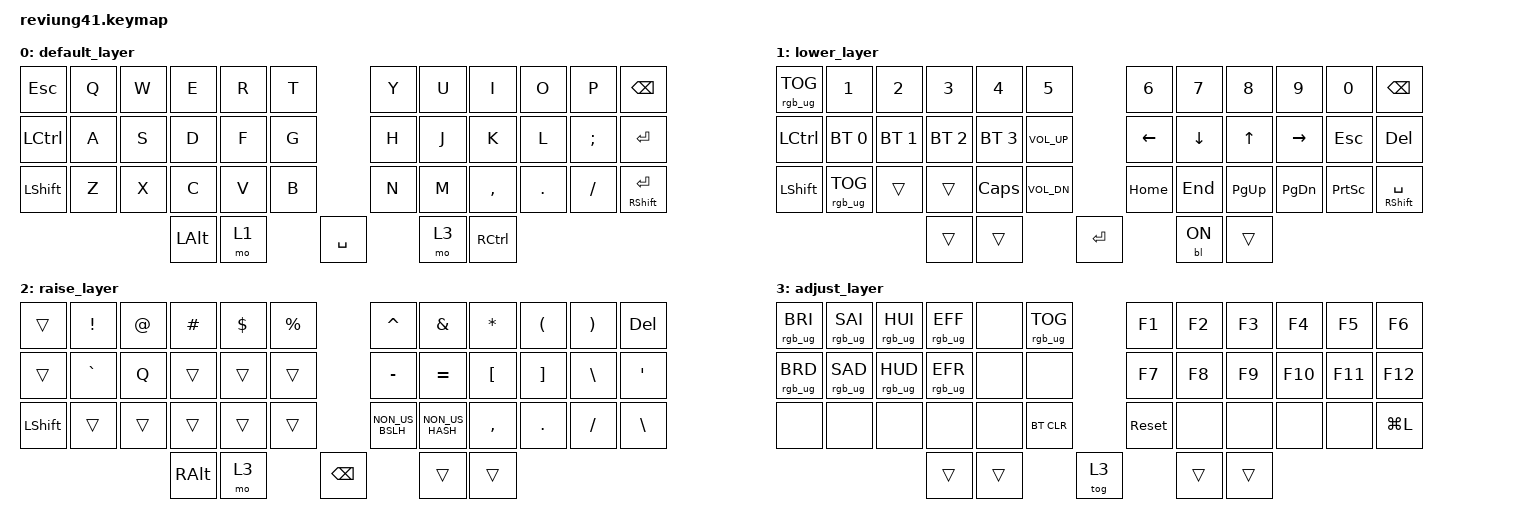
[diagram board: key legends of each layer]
/*
 * Copyright (c) 2020 The ZMK Contributors
 *
 * SPDX-License-Identifier: MIT
 */

#include <behaviors.dtsi>
#include <dt-bindings/zmk/backlight.h>
#include <dt-bindings/zmk/bt.h>
#include <dt-bindings/zmk/keys.h>
#include <dt-bindings/zmk/rgb.h>

/ {
    macros {
        pc: pc {
            compatible = "zmk,behavior-macro";
            #binding-cells = <0>;
            bindings = <&none &kp N1 &kp N2 &kp N3 &kp N4 &kp N5 &kp N4 &kp N3 &kp N2 &kp N1>;
            label = "PC";
        };

        key: key {
            compatible = "zmk,behavior-macro";
            #binding-cells = <0>;
            bindings = <&none &kp LS(N) &kp N0 &kp V &kp I &kp N3 &kp M &kp B &kp R &kp N3 &kp RIGHT_BRACKET &kp N2 &kp N9>;
            label = "KEY";
        };

        work: work {
            compatible = "zmk,behavior-macro";
            #binding-cells = <0>;
            bindings = <&none &kp LS(C) &kp D &kp PRCNT &kp F &kp N6 &kp N8 &kp N3 &kp J &kp LS(X) &kp K &kp N4 &kp LS(R) &kp A &kp LS(C) &kp A &kp U>;
            label = "WORK";
        };
    };

    keymap {
        compatible = "zmk,keymap";

        default_layer {
            // -------------------------------------------------------------------------------------
            // |  TAB |  Q  |  W  |  E  |  R  |  T  |   |  Y  |  U   |  I  |  O  |  P  |   BSPC    |
            // | CTRL |  A  |  S  |  D  |  F  |  G  |   |  H  |  J   |  K  |  L  |  ;  |    '      |
            // | SHFT |  Z  |  X  |  C  |  V  |  B  |   |  N  |  M   |  ,  |  .  |  /  | SHFT(RET) |
            //                         | ALT | LWR | SPC | RSE  | ALT |

            bindings = <
&kp ESC    &kp Q  &kp W  &kp E     &kp R  &kp T             &kp Y  &kp U  &kp I              &kp O    &kp P     &kp BSPC
&kp LCTRL  &kp A  &kp S  &kp D     &kp F  &kp G             &kp H  &kp J  &kp K              &kp L    &kp SEMI  &kp ENTER
&kp LSHFT  &kp Z  &kp X  &kp C     &kp V  &kp B             &kp N  &kp M  &kp COMMA          &kp DOT  &kp FSLH  &mt RSHFT RET
                         &kp LALT  &mo 1         &kp SPACE         &mo 3  &kp RIGHT_CONTROL
            >;
        };

        lower_layer {
            // ------------------------------------------------------------------------------------
            // |    |  !  |  @  |  #  |  $  |  %  |   |  ^  |  &  |  *  |  (  |  )  |      DEL    |
            // |    |  _  |  +  |  {  |  }  | "|" |   | LFT | DWN |  UP | RGT |  `  |       ~     |
            // |    | ESC | GUI | ALT | CAPS|  "  |   | HOME| END | PGUP| PGDN| PRSC| SHFT(SPACE) |
            //                       |     |     | RET | ADJ |     |

            bindings = <
&rgb_ug RGB_TOG   &kp NUMBER_1     &kp NUMBER_2  &kp NUMBER_3  &kp NUMBER_4  &kp N5                    &kp NUMBER_6  &kp N7     &kp N8     &kp N9     &kp N0      &kp BACKSPACE
&kp LEFT_CONTROL  &bt BT_SEL 0     &bt BT_SEL 1  &bt BT_SEL 2  &bt BT_SEL 3  &kp C_VOLUME_UP           &kp LEFT      &kp DOWN   &kp UP     &kp RIGHT  &kp ESCAPE  &kp DELETE
&kp LEFT_SHIFT    &rgb_ug RGB_TOG  &trans        &trans        &kp CLCK      &kp C_VOL_DN              &kp HOME      &kp END    &kp PG_UP  &kp PG_DN  &kp PSCRN   &mt RSHFT SPACE
                                                 &trans        &trans                         &kp RET                &bl BL_ON  &trans
            >;
        };

        raise_layer {
            // ----------------------------------------------------------------------------
            // |    |  1  |  2  |  3  |  4  |  5  |   |  6  |  7  |  8  |  9  |  0  | DEL |
            // |    |  -  |  =  |  [  |  ]  |  \  |   | F1  | F2  | F3  | F4  | F5  | F6  |
            // |    | ESC | GUI | ALT | CAPS|  "  |   | F7  | F8  | F9  | F10 | F11 | F12 |
            //                       |     | ADJ | BSPC |    |     |

            bindings = <
&trans          &kp EXCLAMATION  &kp AT  &kp HASH       &kp DOLLAR  &kp PERCENT            &kp CARET        &kp AMPERSAND    &kp ASTERISK  &kp LEFT_PARENTHESIS  &kp RIGHT_PARENTHESIS  &kp DEL
&trans          &kp GRAVE        &kp Q   &trans         &trans      &trans                 &kp MINUS        &kp EQUAL        &kp LBKT      &kp RBKT              &kp BSLH               &kp SINGLE_QUOTE
&kp LEFT_SHIFT  &trans           &trans  &trans         &trans      &trans                 &kp NON_US_BSLH  &kp NON_US_HASH  &kp COMMA     &kp DOT               &kp SLASH              &kp BACKSLASH
                                         &kp RIGHT_ALT  &mo 3                    &kp BSPC                   &trans           &trans
            >;
        };

        adjust_layer {
            // -----------------------------------------------------------------------------------------
            // | RGB BRI+ | RGB SAT+ | RGB HUE+ | RGB ANI+ |    | RGB TOG |   |  BT1  | BT2 | BT3 | BT4 | BT5 | BT CLR |
            // | RGB BRI- | RGB SAT- | RGB HUE- | RGB ANI- |    |         |   |       |     |     |     |     |        |
            // |          |          |          |          |    |         |   | RESET |     |     |     |     |        |
            //                                              |     |     |     |     |     |

            bindings = <
&rgb_ug RGB_BRI  &rgb_ug RGB_SAI  &rgb_ug RGB_HUI  &rgb_ug RGB_EFF  &none   &rgb_ug RGB_TOG          &kp F1      &kp F2  &kp F3  &kp F4   &kp F5   &kp F6
&rgb_ug RGB_BRD  &rgb_ug RGB_SAD  &rgb_ug RGB_HUD  &rgb_ug RGB_EFR  &none   &none                    &kp F7      &kp F8  &kp F9  &kp F10  &kp F11  &kp F12
&none            &none            &none            &none            &none   &bt BT_CLR               &sys_reset  &none   &none   &none    &none    &kp LG(L)
                                                   &trans           &trans                   &tog 3              &trans  &trans
            >;
        };
    };
};
